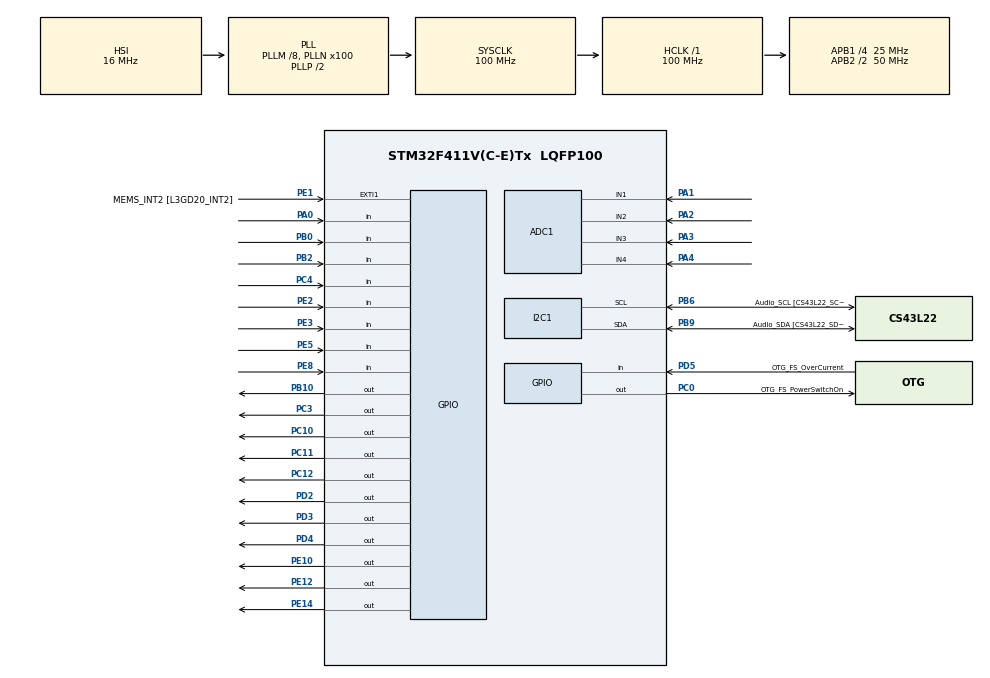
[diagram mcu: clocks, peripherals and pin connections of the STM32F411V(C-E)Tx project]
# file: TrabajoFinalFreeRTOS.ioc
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ADC1.Channel-1\#ChannelRegularConversion=ADC_CHANNEL_3
ADC1.NbrOfConversionFlag=1
ADC1.Rank-1\#ChannelRegularConversion=1
ADC1.SamplingTime-1\#ChannelRegularConversion=ADC_SAMPLETIME_3CYCLES
ADC1.master=1
FREERTOS.INCLUDE_vTaskDelayUntil=1
FREERTOS.Queues01=Queue1Handle,3,LCD_DataTypeDef,0,Dynamic,NULL,NULL;Queue3Handle,3,int,0,Dynamic,NULL,NULL;Queue4Handle,3,Output_DataTypeDef,0,Dynamic,NULL,NULL;Queue5Handle,3,uint32_t,0,Dynamic,NULL,NULL
FREERTOS.Tasks01=AutomaticTask,2,128,AutomaticControlTask,Default,NULL,Dynamic,NULL,NULL;InterfaceTask,0,128,UserInterfaceTask,Default,NULL,Dynamic,NULL,NULL;TheSensorsTask,-1,128,SensorsTask,Default,NULL,Dynamic,NULL,NULL;TheKeypadTask,-2,128,KeypadTask,Default,NULL,Dynamic,NULL,NULL
FREERTOS.configENABLE_FPU=0
Mcu.Family=STM32F4
Mcu.Name=STM32F411V(C-E)Tx
Mcu.Package=LQFP100
NVIC.PriorityGroup=NVIC_PRIORITYGROUP_4
NVIC.TIM5_IRQn=true\:0\:0\:false\:false\:true\:false\:false\:true\:true
NVIC.TimeBase=TIM5_IRQn
NVIC.TimeBaseIP=TIM5
PA0-WKUP.Signal=GPIO_Input
PA1.Signal=SharedAnalog_PA1
PA10.GPIO_Label=OTG_FS_ID
PA10.Signal=USB_OTG_FS_ID
PA11.GPIO_Label=OTG_FS_DM
PA11.Signal=USB_OTG_FS_DM
PA12.GPIO_Label=OTG_FS_DP
PA12.Signal=USB_OTG_FS_DP
PA13.Signal=SYS_JTMS-SWDIO
PA14.GPIO_Label=SWCLK
PA14.Signal=SYS_JTCK-SWCLK
PA2.Signal=ADCx_IN2
PA3.Signal=ADCx_IN3
PA4.Signal=ADCx_IN4
PA5.GPIO_Label=SPI1_SCK [L3GD20_SC/SPC]
PA5.Signal=SPI1_SCK
PA6.GPIO_Label=SPI1_MISO [L3GD20_AS0/SDO]
PA6.Signal=SPI1_MISO
PA7.GPIO_Label=SPI1_MOSI [L3GD20_SDA/SDI/SDO]
PA7.Signal=SPI1_MOSI
PA9.GPIO_Label=VBUS_FS
PA9.Signal=USB_OTG_FS_VBUS
PB0.GPIO_PuPd=GPIO_PULLUP
PB0.Signal=GPIO_Input
PB10.Signal=GPIO_Output
PB12.Signal=I2S2_WS
PB2.GPIO_PuPd=GPIO_PULLUP
PB2.Signal=GPIO_Input
PB3.GPIO_Label=SWO
PB3.Signal=SYS_JTDO-SWO
PB6.GPIO_Label=Audio_SCL [CS43L22_SCL]
PB6.GPIO_Mode=GPIO_MODE_AF_OD
PB6.GPIO_Pu=GPIO_PULLUP
PB6.GPIO_PuPd=GPIO_NOPULL
PB6.GPIO_Speed=GPIO_SPEED_FREQ_LOW
PB6.Mode=I2C
PB6.Signal=I2C1_SCL
PB9.GPIO_Label=Audio_SDA [CS43L22_SDA]
PB9.GPIO_Mode=GPIO_MODE_AF_OD
PB9.GPIO_Pu=GPIO_PULLUP
PB9.GPIO_PuPd=GPIO_NOPULL
PB9.GPIO_Speed=GPIO_SPEED_FREQ_LOW
PB9.Mode=I2C
PB9.Signal=I2C1_SDA
PC0.GPIO_Label=OTG_FS_PowerSwitchOn
PC0.PinState=GPIO_PIN_SET
PC0.Signal=GPIO_Output
PC10.Signal=GPIO_Output
PC11.Signal=GPIO_Output
PC12.Signal=GPIO_Output
PC14-OSC32_IN.GPIO_Label=PC14-OSC32_IN
PC14-OSC32_IN.Signal=RCC_OSC32_IN
PC15-OSC32_OUT.GPIO_Label=PC15-OSC32_OUT
PC15-OSC32_OUT.Signal=RCC_OSC32_OUT
PC3.Signal=GPIO_Output
PC4.GPIO_PuPd=GPIO_PULLUP
PC4.Signal=GPIO_Input
PC7.GPIO_Label=I2S3_MCK [CS43L22_MCLK]
PC7.GPIO_Mode=GPIO_MODE_AF_PP
PC7.GPIO_PuPd=GPIO_NOPULL
PC7.GPIO_Speed=GPIO_SPEED_FREQ_LOW
PC7.Signal=I2S3_MCK
PD2.Signal=GPIO_Output
PD3.Signal=GPIO_Output
PD4.Signal=GPIO_Output
PD5.GPIO_Label=OTG_FS_OverCurrent
PD5.Signal=GPIO_Input
PE1.GPIO_Label=MEMS_INT2 [L3GD20_INT2]
PE1.GPIO_ModeDefaultEXTI=GPIO_MODE_EVT_RISING
PE1.Signal=GPXTI1
PE10.Signal=GPIO_Output
PE12.Signal=GPIO_Output
PE14.Signal=GPIO_Output
PE2.Signal=GPIO_Input
PE3.Signal=GPIO_Input
PE5.Signal=GPIO_Input
PE8.Signal=GPIO_Input
PH0\ -\ OSC_IN.Signal=RCC_OSC_IN
PH1\ -\ OSC_OUT.Signal=RCC_OSC_OUT
ProjectManager.HeapSize=0x200
ProjectManager.StackSize=0x400
ProjectManager.TargetToolchain=STM32CubeIDE
RCC.48MHZClocksFreq_Value=25000000
RCC.AHBFreq_Value=100000000
RCC.APB1CLKDivider=RCC_HCLK_DIV4
RCC.APB1Freq_Value=25000000
RCC.APB1TimFreq_Value=50000000
RCC.APB2CLKDivider=RCC_HCLK_DIV2
RCC.APB2Freq_Value=50000000
RCC.APB2TimFreq_Value=100000000
RCC.CortexFreq_Value=100000000
RCC.HCLKFreq_Value=100000000
RCC.HSE_VALUE=8000000
RCC.HSI_VALUE=16000000
RCC.LSE_VALUE=32768
RCC.PLLI2SM=5
RCC.PLLI2SN=200
RCC.PLLM=8
RCC.PLLN=100
RCC.PLLQ=8
RCC.SYSCLKFreq_VALUE=100000000
RCC.SYSCLKSource=RCC_SYSCLKSOURCE_PLLCLK
RCC.VCOOutputFreq_Value=200000000
SH.ADCx_IN2.0=ADC1_IN2,IN2
SH.ADCx_IN3.0=ADC1_IN3,IN3
SH.ADCx_IN4.0=ADC1_IN4,IN4
SH.SharedAnalog_PA1.0=GPIO_Analog
SH.SharedAnalog_PA1.1=ADC1_IN1,IN1
VP_FREERTOS_VS_CMSIS_V1.Mode=CMSIS_V1
VP_SYS_VS_tim5.Mode=TIM5
VP_TIM2_VS_ClockSourceINT.Mode=Internal
VP_TIM3_VS_ClockSourceINT.Mode=Internal
board=STM32F411E-DISCO

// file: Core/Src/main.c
#include "main.h"
#include "bsp.h"
#include "cmsis_os.h"
#include "queue.h"
#include "lcd_i2cModule.h"
#include "DHT.h"
#include "keypad.h"
#include <stdio.h>
#include <FreeRTOS.h>

ADC_HandleTypeDef hadc1;
I2C_HandleTypeDef hi2c1;
TIM_HandleTypeDef htim2;
TIM_HandleTypeDef htim3;

osThreadId AutomaticTaskHandle;
osThreadId InterfaceTaskHandle;
osThreadId TheSensorsTaskHandle;
osThreadId TheKeypadTaskHandle;

osMessageQId Queue0Handle;
osMessageQId Queue1Handle;
osMessageQId Queue2Handle;
osMessageQId Queue3Handle;
osMessageQId Queue4Handle;
osMessageQId Queue5Handle;
osMessageQId Queue6Handle;
osMessageQId Queue7Handle;

QueueSetHandle_t QueueSetHandle;

void SystemClock_Config(void);
static void MX_GPIO_Init(void);
static void MX_ADC1_Init(void);
static void MX_I2C1_Init(void);
static void MX_TIM2_Init(void);
static void MX_TIM3_Init(void);

void AutomaticControlTask(void const * argument);
void StateMachineTask(void const * argument);
void SensorsTask(void const * argument);
void KeypadTask(void const * argument);

int main(void)
{

  BSP_Init();
 // APP_Show_SystemIntro();

  SystemClock_Config();

  MX_GPIO_Init();
  MX_ADC1_Init();
  MX_I2C1_Init();
  MX_TIM2_Init();
  MX_TIM3_Init();

  osMessageQDef(Queue0Handle, 3, uint32_t);
  Queue0Handle = osMessageCreate(osMessageQ(Queue0Handle), NULL);

  osMessageQDef(Queue1Handle, 3, uint32_t);
  Queue1Handle = osMessageCreate(osMessageQ(Queue1Handle), NULL);

  osMessageQDef(Queue2Handle, 3, uint32_t);
  Queue2Handle = osMessageCreate(osMessageQ(Queue2Handle), NULL);

  osMessageQDef(Queue3Handle, 3, int);
  Queue3Handle = osMessageCreate(osMessageQ(Queue3Handle), NULL);

  osMessageQDef(Queue4Handle, 3, uint32_t);
  Queue4Handle = osMessageCreate(osMessageQ(Queue4Handle), NULL);

  osMessageQDef(Queue5Handle, 3, uint32_t);
  Queue5Handle = osMessageCreate(osMessageQ(Queue5Handle), NULL);

  osMessageQDef(Queue6Handle, 3, uint32_t);
  Queue6Handle = osMessageCreate(osMessageQ(Queue6Handle), NULL);

  osMessageQDef(Queue7Handle, 3, uint32_t);
  Queue7Handle = osMessageCreate(osMessageQ(Queue7Handle), NULL);

  QueueSetHandle = xQueueCreateSet(6); // revisar si no es mucho

  xQueueAddToSet(Queue1Handle, QueueSetHandle);
  xQueueAddToSet(Queue3Handle, QueueSetHandle);

//  	  xTaskCreate(AutomaticTask, AutomaticControlTask, 1024, NULL, 3, NULL);
//  	xTaskCreate(InterfaceTask, UserInterfaceTask, 1024, NULL, 2, NULL);
//  	xTaskCreate(TheSensorsTask, SensorsTask, 1024, NULL, 1, NULL);
//  	xTaskCreate(TheKeypadTask, KeypadTask, 1024, NULL, 0, NULL);

  osThreadDef(AutomaticTask, AutomaticControlTask, osPriorityHigh, 0, 1024);
  AutomaticTaskHandle = osThreadCreate(osThread(AutomaticTask), NULL);

  osThreadDef(InterfaceTask, StateMachineTask, osPriorityNormal, 0, 1024);
  InterfaceTaskHandle = osThreadCreate(osThread(InterfaceTask), NULL);

  osThreadDef(TheSensorsTask, SensorsTask, osPriorityBelowNormal, 0, 1024);
  TheSensorsTaskHandle = osThreadCreate(osThread(TheSensorsTask), NULL);

  osThreadDef(TheKeypadTask, KeypadTask, osPriorityLow, 0, 1024);
  TheKeypadTaskHandle = osThreadCreate(osThread(TheKeypadTask), NULL);

  osKernelStart();

  while (1)
  {

  }

}

void AutomaticControlTask(void const * argument)
{
  /* USER CODE BEGIN 5 */
	//Output_DataTypeDef Output_Data;
	uint32_t rangohmin;
	uint32_t rangohmax;
	uint32_t irrigationHumidity;
	uint32_t soilHumidity;
  /* Infinite loop */
  for(;;)
  {
		if(xQueueReceive(Queue4Handle, &soilHumidity, portMAX_DELAY) == pdTRUE){
			xQueueReceive(Queue6Handle, &rangohmin, portMAX_DELAY);
			xQueueReceive(Queue7Handle, &rangohmax, portMAX_DELAY);

					if (soilHumidity < rangohmax && soilHumidity > rangohmin){

						LCD_Clear();

						do {

			            	LCD_SetCursor(2, 5);
							LCD_Print("REGANDO", 1);
							BSP_TurnOn_Valve();
							xQueueReceive(Queue5Handle, &irrigationHumidity, 2000);

						}
						while (irrigationHumidity <= rangohmax && irrigationHumidity >= rangohmin);
						BSP_TurnOff_Valve();
						LCD_Clear();
					}
		}
  }
  /* USER CODE END 5 */
}

void StateMachineTask(void const * argument)
{
  /* USER CODE BEGIN UserInterfaceTask */
	int rx_key;
		//LCD_DataTypeDef LCD_Data;
		//Output_DataTypeDef Output_Data;
		uint32_t rangohmin = 0;
		uint32_t rangohmax = 30;
		uint32_t temperature = 0;
		uint32_t humidity = 0;
		uint32_t soilHumidity = 0;
		int estado_cortina;
		int cortina_manual;
  /* Infinite loop */
  for(;;)
  {
	  QueueSetMemberHandle_t who_unblocked = xQueueSelectFromSet(QueueSetHandle, 0); //si no es 0 es se rompe con Hard_Falut interrupt
	  		if(who_unblocked == Queue1Handle){
	  			if(xQueueReceive(Queue1Handle, &soilHumidity, 0)){
	  				xQueueReceive(Queue0Handle, &temperature, 0);
					xQueueReceive(Queue2Handle, &humidity, 0);

	  				LCD_Clear();
	  				BSP_LCD_Humidity(humidity);
	  				BSP_LCD_Temperature(temperature);
	  				BSP_LCD_SoilHumidity(soilHumidity);

	  			}
	  		}
	  		else if(who_unblocked == Queue3Handle){
	  			if(xQueueReceive(Queue3Handle, &rx_key, 0) == pdTRUE){
	  				switch (rx_key) {
	  				            case 65:
	  				                LCD_Clear();
	  				                LCD_SetCursor(1, 5);
	  				                LCD_Print("MINIMO:", 1);
	  				                HAL_Delay(2000);

	  				                who_unblocked = xQueueSelectFromSet(QueueSetHandle, portMAX_DELAY);
	  				                if(who_unblocked == Queue3Handle){

	  				                	if(xQueueReceive(Queue3Handle, &rx_key, 0) == pdTRUE) {
	  				                		switch (rx_key) {
	  				                			case 49: rangohmin = 10; break;
	  				                			case 50: rangohmin = 20; break;
	  				                			case 51: rangohmin = 30; break;
	  				                			case 52: rangohmin = 40; break;
	  				                			case 53: rangohmin = 50; break;
	  				                			case 54: rangohmin = 60; break;
	  				                			case 55: rangohmin = 70; break;
	  				                			case 56: rangohmin = 80; break;
	  				                			case 57: rangohmin = 90; break;
	  				                			case 48: rangohmin =  0; break;
	  				                			default: rangohmin = 100;                                   //FALTA CASO 100
	  				                		}
	  				                	}                                                                   //revisar corchete
	  				                }
	  				                LCD_SetCursor(1, 5);
	  				                LCD_Print("MINIMO:%1u", rangohmin);
	  				                LCD_SetCursor(2, 5);
	  				                LCD_Print("MAXIMO:", 1);

	  				                who_unblocked = xQueueSelectFromSet(QueueSetHandle, portMAX_DELAY);
	  				                if(who_unblocked == Queue3Handle){

	  				                	if(xQueueReceive(Queue3Handle, &rx_key, 0) == pdTRUE) {
	  				                		switch (rx_key) {
	  				                			case 49: rangohmax = 10; break;
	  				                			case 50: rangohmax = 20; break;
	  				                			case 51: rangohmax = 30; break;
	  				                			case 52: rangohmax = 40; break;
	  				                			case 53: rangohmax = 50; break;
	  				                			case 54: rangohmax = 60; break;
	  				                			case 55: rangohmax = 70; break;
	  				                			case 56: rangohmax = 80; break;
	  				                			case 57: rangohmax = 90; break;
	  				                			case 48: rangohmax =  0; break;
	  				                			default: rangohmax = 100;
	  				                		}                                                                 //FALTA CASO ERROR QUE SEA MENOR AL MÍNIMO
	  				                	}
	  				                }
	  				                LCD_SetCursor(2, 5);
	  				                LCD_Print("MAXIMO:%1u", rangohmax);
	  				                HAL_Delay(4000);
	  				                LCD_Clear();

	  				                BSP_LCD_Humidity(humidity);
	  				               	BSP_LCD_Temperature(temperature);
	  				                BSP_LCD_SoilHumidity(soilHumidity);

	  				                break;
	  				            case 49:
	  				            	LCD_Clear();
	  				                LCD_SetCursor(2, 1);
	  				                LCD_Print("Ingreso 1", 1);
	  				                HAL_Delay(2000);
	  				                LCD_Clear();

	  				                BSP_LCD_Humidity(humidity);
	  				               	BSP_LCD_Temperature(temperature);
	  				                BSP_LCD_SoilHumidity(soilHumidity);
	  				                break;
	  				            case 50:
	  				            	LCD_Clear();
	  				                LCD_SetCursor(2, 1);
	  				                LCD_Print("Ingreso 2", 1);
	  				                HAL_Delay(2000);
	  				                LCD_Clear();

	  				                BSP_LCD_Humidity(humidity);
	  				                BSP_LCD_Temperature(temperature);
	  				                BSP_LCD_SoilHumidity(soilHumidity);
	  				                break;
	  				            case 51:
	  				            	LCD_Clear();
	  				                LCD_SetCursor(2, 1);
	  				                LCD_Print("Ingreso 3", 1);
	  				                HAL_Delay(2000);
	  				                LCD_Clear();

	  				                BSP_LCD_Humidity(humidity);
	  				                BSP_LCD_Temperature(temperature);
	  				                BSP_LCD_SoilHumidity(soilHumidity);
	  				                break;
	  				            case 52:
	  				            	LCD_Clear();
	  				                LCD_SetCursor(2, 1);
	  				                LCD_Print("Ingreso 4", 1);
	  				                HAL_Delay(2000);
	  				                LCD_Clear();

	  				                BSP_LCD_Humidity(humidity);
	  				                BSP_LCD_Temperature(temperature);
	  				                BSP_LCD_SoilHumidity(soilHumidity);
	  				                break;
	  				            case 53:
	  				            	LCD_Clear();
	  				                LCD_SetCursor(2, 1);
	  				                LCD_Print("Ingreso 5", 1);
	  				                HAL_Delay(2000);
	  				                LCD_Clear();

	  				                BSP_LCD_Humidity(humidity);
	  				                BSP_LCD_Temperature(temperature);
	  				                BSP_LCD_SoilHumidity(soilHumidity);
	  				                break;
	  				            case 54:
	  				            	LCD_Clear();
	  				                LCD_SetCursor(2, 1);
	  				                LCD_Print("Ingreso 6", 1);
	  				                HAL_Delay(2000);
	  				                LCD_Clear();

	  				                BSP_LCD_Humidity(humidity);
	  				                BSP_LCD_Temperature(temperature);
	  				                BSP_LCD_SoilHumidity(soilHumidity);
	  				                break;
	  				            case 66:                                //TECLA 'B'
	  				//                LCD_SetCursor(1, 1);
	  				//                LCD_Send_String("Ingrese 1 por AM/2 por PM", STR_NOSLIDE);
	  				//                do {
	  				//                    tecla = keypad_read();
	  				//                    switch (tecla) {
	  				//                        case 0:             break;   //buen metodo?
	  				//                        case 49: AMoPM = 1; break;
	  				//                        case 50: AMoPM = 2; break;
	  				//                        default:
	  				//                            LCD_Clear();
	  				//                            LCD_SetCursor(1, 1);
	  				//                           HAL_Delay(3000);
	  				//                            LCD_Clear();
	  				//                            LCD_SetCursor(1, 1);
	  				//                            LCD_Send_String("Ingrese 1 por AM/2 por PM", STR_NOSLIDE);
	  				//                    }
	  				//                } while (AMoPM != 1 && AMoPM != 2);
	  				//                if (AMoPM == 1){
	  				//                    LCD_SetCursor(1, 1);
	  				//                    LCD_Send_String("Ingrese hora de riego", STR_NOSLIDE);
	  				//                    do {
	  				//                        tecla = keypad_read();
	  				//                        switch (tecla) {
	  				//                            case 49:
	  				//                                                                  //PROBLEMA
	  				//                                hora_de_riego = 1;
	  				//                                break;
	  				//                            case 50: hora_de_riego = 2; break;
	  				//                            case 51: hora_de_riego = 3; break;
	  				//                            case 52: hora_de_riego = 4; break;
	  				//                            case 53: hora_de_riego = 5; break;
	  				//                            case 54: hora_de_riego = 6; break;
	  				//                            case 55: hora_de_riego = 7; break;
	  				//                            case 56: hora_de_riego = 8; break;
	  				//                            case 57: hora_de_riego = 9; break;
	  				                //case 48: hora_de_riego =  0; break;
	  				//                        }
	  				//                    } while (tecla == 0);
	  				//                }
	  				//                if (AMoPM == 2){

	  				//                }
	  				                break;
	  				            case 55:
	  				            	LCD_Clear();
	  				                LCD_SetCursor(2, 1);
	  				                LCD_Print("Ingreso 7", 1);
	  				                HAL_Delay(2000);

	  				                LCD_Clear();

	  				                BSP_LCD_Humidity(humidity);
	  				                BSP_LCD_Temperature(temperature);
	  				                BSP_LCD_SoilHumidity(soilHumidity);
	  				                break;
	  				            case 56:
	  				            	LCD_Clear();
	  				                LCD_SetCursor(2, 1);
	  				                LCD_Print("Ingreso 8", 1);
	  				                HAL_Delay(2000);
	  				                LCD_Clear();

	  				                BSP_LCD_Humidity(humidity);
	  				                BSP_LCD_Temperature(temperature);
	  				                BSP_LCD_SoilHumidity(soilHumidity);
	  				                break;
	  				            case 57:
	  				            	LCD_Clear();
	  				                LCD_SetCursor(2, 1);
	  				                LCD_Print("Ingreso 9", 1);
	  				                HAL_Delay(2000);
	  				                LCD_Clear();

	  				                BSP_LCD_Humidity(humidity);
	  				                BSP_LCD_Temperature(temperature);
	  				                BSP_LCD_SoilHumidity(soilHumidity);
	  				                break;
	  				            case 67:                                             //TECLA 'C'
	  				            	LCD_Clear();
	  				                LCD_SetCursor(2, 5);
	  				                LCD_Print("PESTICIDA", 1);
	  				              //  htim2.Instance->CCR1 = 75; //ANGULO 90 GRADOS
	  				                HAL_Delay(4000);
	  				                LCD_Clear();

	  				                BSP_LCD_Humidity(humidity);
	  				                BSP_LCD_Temperature(temperature);
	  				                BSP_LCD_SoilHumidity(soilHumidity);
	  				                break;
	  				            case 68:                                             //TECLA 'D'
	  				                if(estado_cortina == 0) {     										  //flag para ver si la cortina esta abierta o cerrada
	  				                    LCD_Clear();
	  				                	LCD_SetCursor(2, 1);
	  				                    LCD_Print("CERRANDO CORTINA", 1);
	  				                    HAL_GPIO_WritePin(GPIOD, GPIO_PIN_4, GPIO_PIN_SET); 				//  ENA
	  				                    HAL_GPIO_WritePin(GPIOD, GPIO_PIN_3, GPIO_PIN_SET); 				//  IN1
	  				                    HAL_GPIO_WritePin(GPIOD, GPIO_PIN_2, GPIO_PIN_RESET);				 //  IN2
	  				                    while (!HAL_GPIO_ReadPin(GPIOE, GPIO_PIN_5));   						//espera hasta que la cortina toque fin de carrera con pull up
	  				                    HAL_GPIO_WritePin(GPIOD, GPIO_PIN_4, GPIO_PIN_RESET); 				//  ENA
	  				                    estado_cortina = 1;                                                  //cambio de estado
	  				                    if (cortina_manual == 0)  										 //revisar
	  				                        cortina_manual = 1;       									 //bandera para saber si se quiere de manera manual la cortina abierta
	  				                    else
	  				                        cortina_manual = 0;
	  				                }
	  				                else {
	  				                	LCD_Clear();
	  				                    LCD_SetCursor(2, 1);
	  				                    LCD_Print("ABRIENDO CORTINA", 1);
	  				                    HAL_GPIO_WritePin(GPIOD, GPIO_PIN_4, GPIO_PIN_SET); 			//  ENA
	  				                    HAL_GPIO_WritePin(GPIOD, GPIO_PIN_3, GPIO_PIN_RESET); 				//  IN1
	  				                    HAL_GPIO_WritePin(GPIOD, GPIO_PIN_2, GPIO_PIN_SET); 			//  IN2
	  				                    while (!HAL_GPIO_ReadPin(GPIOE, GPIO_PIN_3));  						 //espera hasta que la cortina toque fin de carrera con pull up
	  				                    HAL_GPIO_WritePin(GPIOD, GPIO_PIN_4, GPIO_PIN_RESET); 			//  ENA
	  				                    estado_cortina = 0;                                           //cambio de estado
	  				                    if (cortina_manual == 0)   										//revisar
	  				                        cortina_manual = 1;
	  				                    else
	  				                        cortina_manual = 0;   										 //bandera para saber si se quiere de manera manual la cortina abierta
	  				                }
	  				                break;
	  				            case 48:
	  				            	LCD_Clear();
	  				                LCD_SetCursor(2, 1);
	  				                LCD_Print("Ingreso 0", 1);
	  				                HAL_Delay(2000);
	  				                LCD_Clear();

	  				                BSP_LCD_Humidity(humidity);
	  				                BSP_LCD_Temperature(temperature);
	  				                BSP_LCD_SoilHumidity(soilHumidity);
	  				                break;
	  				        }
	  			}
	  		}
	  		soilHumidity = 3;
	  		//soilHumidity = LCD_Data.soilHumidity;

	  		xQueueSend(Queue4Handle, &soilHumidity, 3000); // revisar como incide el 3000 en el comportamiento
	  		xQueueSend(Queue6Handle, &rangohmin, 3000);
	  		xQueueSend(Queue7Handle, &rangohmax, 3000);

	  		osDelay(5000);
	  	}

  /* USER CODE END UserInterfaceTask */
}

void SensorsTask(void const * argument)
{
  /* USER CODE BEGIN SensorsTask */
	DHT_DataTypeDef DHT22;
	uint32_t temperature = 0;
	uint32_t humidity = 0;
	uint32_t soilHumidity;
  /* Infinite loop */
  for(;;)
  {
		DHT_GetData(&DHT22);
		humidity = DHT22.Humidity;
		temperature = DHT22.Temperature;
		soilHumidity = APP_SoilHumidity();

		xQueueSend(Queue1Handle, &soilHumidity, 0);
		xQueueSend(Queue0Handle, &temperature, 0);
		xQueueSend(Queue2Handle, &humidity, 0);

		xQueueSend(Queue5Handle, &soilHumidity, 0);

		osDelay(500);                                                         //Bajar para testear
  }
  /* USER CODE END SensorsTask */
}

void KeypadTask(void const * argument)
{
  /* USER CODE BEGIN KeypadTask */
	int key;
  /* Infinite loop */
  for(;;)
  {
	  key = keypad_read();

	  	if(key != 0){

	  		xQueueSend(Queue3Handle, &key, 5000);  // sacar pormax_delay que es puro bloqueante
	  	}
	      osDelay(10);
  }
  /* USER CODE END KeypadTask */
}

void APP_Show_SystemIntro(){
    LCD_i2cDeviceCheck();
    LCD_BackLight(LCD_BL_ON);
    LCD_SetCursor(1,1);
    LCD_Clear();
    LCD_Print("Cargando Datos",1);
    //BSP_Delay(2000);
    //LCD_Clear();
}

void APP_CoverFromTemperature(int estado_cortina, int cortina_manual){
    BSP_CoverFromTemperature(estado_cortina, cortina_manual);
}

uint32_t APP_SoilHumidity(){
	int SoilHumidity;
	SoilHumidity = BSP_SoilHumidity();
	return SoilHumidity;
}

void APP_Irrigation(int rangohmin, int rangohmax){
    BSP_Irrigation(rangohmin, rangohmax);
}

void SystemClock_Config(void)
{
  RCC_OscInitTypeDef RCC_OscInitStruct = {0};
  RCC_ClkInitTypeDef RCC_ClkInitStruct = {0};

  /** Configure the main internal regulator output voltage
  */
  __HAL_RCC_PWR_CLK_ENABLE();
  __HAL_PWR_VOLTAGESCALING_CONFIG(PWR_REGULATOR_VOLTAGE_SCALE1);
  /** Initializes the RCC Oscillators according to the specified parameters
  * in the RCC_OscInitTypeDef structure.
  */
  RCC_OscInitStruct.OscillatorType = RCC_OSCILLATORTYPE_HSI;
  RCC_OscInitStruct.HSIState = RCC_HSI_ON;
  RCC_OscInitStruct.HSICalibrationValue = RCC_HSICALIBRATION_DEFAULT;
  RCC_OscInitStruct.PLL.PLLState = RCC_PLL_ON;
  RCC_OscInitStruct.PLL.PLLSource = RCC_PLLSOURCE_HSI;
  RCC_OscInitStruct.PLL.PLLM = 8;
  RCC_OscInitStruct.PLL.PLLN = 100;
  RCC_OscInitStruct.PLL.PLLP = RCC_PLLP_DIV2;
  RCC_OscInitStruct.PLL.PLLQ = 8;
  if (HAL_RCC_OscConfig(&RCC_OscInitStruct) != HAL_OK)
  {
    Error_Handler();
  }
  /** Initializes the CPU, AHB and APB buses clocks
  */
  RCC_ClkInitStruct.ClockType = RCC_CLOCKTYPE_HCLK|RCC_CLOCKTYPE_SYSCLK
                              |RCC_CLOCKTYPE_PCLK1|RCC_CLOCKTYPE_PCLK2;
  RCC_ClkInitStruct.SYSCLKSource = RCC_SYSCLKSOURCE_PLLCLK;
  RCC_ClkInitStruct.AHBCLKDivider = RCC_SYSCLK_DIV1;
  RCC_ClkInitStruct.APB1CLKDivider = RCC_HCLK_DIV4;
  RCC_ClkInitStruct.APB2CLKDivider = RCC_HCLK_DIV2;

  if (HAL_RCC_ClockConfig(&RCC_ClkInitStruct, FLASH_LATENCY_3) != HAL_OK)
  {
    Error_Handler();
  }
}

static void MX_ADC1_Init(void)
{

  ADC_ChannelConfTypeDef sConfig = {0};

  /** Configure the global features of the ADC (Clock, Resolution, Data Alignment and number of conversion)
  */
  hadc1.Instance = ADC1;
  hadc1.Init.ClockPrescaler = ADC_CLOCK_SYNC_PCLK_DIV2;
  hadc1.Init.Resolution = ADC_RESOLUTION_12B;
  hadc1.Init.ScanConvMode = DISABLE;
  hadc1.Init.ContinuousConvMode = DISABLE;
  hadc1.Init.DiscontinuousConvMode = DISABLE;
  hadc1.Init.ExternalTrigConvEdge = ADC_EXTERNALTRIGCONVEDGE_NONE;
  hadc1.Init.ExternalTrigConv = ADC_SOFTWARE_START;
  hadc1.Init.DataAlign = ADC_DATAALIGN_RIGHT;
  hadc1.Init.NbrOfConversion = 1;
  hadc1.Init.DMAContinuousRequests = DISABLE;
  hadc1.Init.EOCSelection = ADC_EOC_SINGLE_CONV;
  if (HAL_ADC_Init(&hadc1) != HAL_OK)
  {
    Error_Handler();
  }
  /** Configure for the selected ADC regular channel its corresponding rank in the sequencer and its sample time.
  */
  sConfig.Channel = ADC_CHANNEL_3;
  sConfig.Rank = 1;
  sConfig.SamplingTime = ADC_SAMPLETIME_3CYCLES;
  if (HAL_ADC_ConfigChannel(&hadc1, &sConfig) != HAL_OK)
  {
    Error_Handler();
  }

}

static void MX_I2C1_Init(void)
{

  hi2c1.Instance = I2C1;
  hi2c1.Init.ClockSpeed = 100000;
  hi2c1.Init.DutyCycle = I2C_DUTYCYCLE_2;
  hi2c1.Init.OwnAddress1 = 0;
  hi2c1.Init.AddressingMode = I2C_ADDRESSINGMODE_7BIT;
  hi2c1.Init.DualAddressMode = I2C_DUALADDRESS_DISABLE;
  hi2c1.Init.OwnAddress2 = 0;
  hi2c1.Init.GeneralCallMode = I2C_GENERALCALL_DISABLE;
  hi2c1.Init.NoStretchMode = I2C_NOSTRETCH_DISABLE;
  if (HAL_I2C_Init(&hi2c1) != HAL_OK)
  {
    Error_Handler();
  }

}

static void MX_TIM2_Init(void)
{

  TIM_ClockConfigTypeDef sClockSourceConfig = {0};
  TIM_MasterConfigTypeDef sMasterConfig = {0};

  htim2.Instance = TIM2;
  htim2.Init.Prescaler = 0;
  htim2.Init.CounterMode = TIM_COUNTERMODE_UP;
  htim2.Init.Period = 4294967295;
  htim2.Init.ClockDivision = TIM_CLOCKDIVISION_DIV1;
  htim2.Init.AutoReloadPreload = TIM_AUTORELOAD_PRELOAD_DISABLE;
  if (HAL_TIM_Base_Init(&htim2) != HAL_OK)
  {
    Error_Handler();
  }
  sClockSourceConfig.ClockSource = TIM_CLOCKSOURCE_INTERNAL;
  if (HAL_TIM_ConfigClockSource(&htim2, &sClockSourceConfig) != HAL_OK)
  {
    Error_Handler();
  }
  sMasterConfig.MasterOutputTrigger = TIM_TRGO_RESET;
  sMasterConfig.MasterSlaveMode = TIM_MASTERSLAVEMODE_DISABLE;
  if (HAL_TIMEx_MasterConfigSynchronization(&htim2, &sMasterConfig) != HAL_OK)
  {
    Error_Handler();
  }

}

static void MX_TIM3_Init(void)
{

  TIM_ClockConfigTypeDef sClockSourceConfig = {0};
  TIM_MasterConfigTypeDef sMasterConfig = {0};

  htim3.Instance = TIM3;
  htim3.Init.Prescaler = 0;
  htim3.Init.CounterMode = TIM_COUNTERMODE_UP;
  htim3.Init.Period = 65535;
  htim3.Init.ClockDivision = TIM_CLOCKDIVISION_DIV1;
  htim3.Init.AutoReloadPreload = TIM_AUTORELOAD_PRELOAD_DISABLE;
  if (HAL_TIM_Base_Init(&htim3) != HAL_OK)
  {
    Error_Handler();
  }
  sClockSourceConfig.ClockSource = TIM_CLOCKSOURCE_INTERNAL;
  if (HAL_TIM_ConfigClockSource(&htim3, &sClockSourceConfig) != HAL_OK)
  {
    Error_Handler();
  }
  sMasterConfig.MasterOutputTrigger = TIM_TRGO_RESET;
  sMasterConfig.MasterSlaveMode = TIM_MASTERSLAVEMODE_DISABLE;
  if (HAL_TIMEx_MasterConfigSynchronization(&htim3, &sMasterConfig) != HAL_OK)
  {
    Error_Handler();
  }

}

static void MX_GPIO_Init(void)
{
  GPIO_InitTypeDef GPIO_InitStruct = {0};

  /* GPIO Ports Clock Enable */
  __HAL_RCC_GPIOE_CLK_ENABLE();
  __HAL_RCC_GPIOC_CLK_ENABLE();
  __HAL_RCC_GPIOH_CLK_ENABLE();
  __HAL_RCC_GPIOA_CLK_ENABLE();
  __HAL_RCC_GPIOB_CLK_ENABLE();
  __HAL_RCC_GPIOD_CLK_ENABLE();

  /*Configure GPIO pin Output Level */
  HAL_GPIO_WritePin(OTG_FS_PowerSwitchOn_GPIO_Port, OTG_FS_PowerSwitchOn_Pin, GPIO_PIN_SET);

  /*Configure GPIO pin Output Level */
  HAL_GPIO_WritePin(GPIOC, GPIO_PIN_3|GPIO_PIN_10|GPIO_PIN_11|GPIO_PIN_12, GPIO_PIN_RESET);

  /*Configure GPIO pin Output Level */
  HAL_GPIO_WritePin(GPIOE, GPIO_PIN_10|GPIO_PIN_12|GPIO_PIN_14, GPIO_PIN_RESET);

  /*Configure GPIO pin Output Level */
  HAL_GPIO_WritePin(GPIOB, GPIO_PIN_10, GPIO_PIN_RESET);

  /*Configure GPIO pin Output Level */
  HAL_GPIO_WritePin(GPIOD, GPIO_PIN_2|GPIO_PIN_3|GPIO_PIN_4, GPIO_PIN_RESET);

  /*Configure GPIO pins : PE2 PE3 PE5 */
  GPIO_InitStruct.Pin = GPIO_PIN_2|GPIO_PIN_3|GPIO_PIN_5;
  GPIO_InitStruct.Mode = GPIO_MODE_INPUT;
  GPIO_InitStruct.Pull = GPIO_NOPULL;
  HAL_GPIO_Init(GPIOE, &GPIO_InitStruct);

  /*Configure GPIO pins : OTG_FS_PowerSwitchOn_Pin PC3 PC10 PC11
                           PC12 */
  GPIO_InitStruct.Pin = OTG_FS_PowerSwitchOn_Pin|GPIO_PIN_3|GPIO_PIN_10|GPIO_PIN_11
                          |GPIO_PIN_12;
  GPIO_InitStruct.Mode = GPIO_MODE_OUTPUT_PP;
  GPIO_InitStruct.Pull = GPIO_NOPULL;
  GPIO_InitStruct.Speed = GPIO_SPEED_FREQ_LOW;
  HAL_GPIO_Init(GPIOC, &GPIO_InitStruct);

  /*Configure GPIO pin : PA0 */
  GPIO_InitStruct.Pin = GPIO_PIN_0;
  GPIO_InitStruct.Mode = GPIO_MODE_INPUT;
  GPIO_InitStruct.Pull = GPIO_NOPULL;
  HAL_GPIO_Init(GPIOA, &GPIO_InitStruct);

  /*Configure GPIO pins : SPI1_SCK_Pin SPI1_MISO_Pin SPI1_MOSI_Pin */
  GPIO_InitStruct.Pin = SPI1_SCK_Pin|SPI1_MISO_Pin|SPI1_MOSI_Pin;
  GPIO_InitStruct.Mode = GPIO_MODE_AF_PP;
  GPIO_InitStruct.Pull = GPIO_NOPULL;
  GPIO_InitStruct.Speed = GPIO_SPEED_FREQ_VERY_HIGH;
  GPIO_InitStruct.Alternate = GPIO_AF5_SPI1;
  HAL_GPIO_Init(GPIOA, &GPIO_InitStruct);

  /*Configure GPIO pin : PC4 */
  GPIO_InitStruct.Pin = GPIO_PIN_4;
  GPIO_InitStruct.Mode = GPIO_MODE_INPUT;
  GPIO_InitStruct.Pull = GPIO_PULLUP;
  HAL_GPIO_Init(GPIOC, &GPIO_InitStruct);

  /*Configure GPIO pins : PB0 PB2 */
  GPIO_InitStruct.Pin = GPIO_PIN_0|GPIO_PIN_2;
  GPIO_InitStruct.Mode = GPIO_MODE_INPUT;
  GPIO_InitStruct.Pull = GPIO_PULLUP;
  HAL_GPIO_Init(GPIOB, &GPIO_InitStruct);

  /*Configure GPIO pin : PE8 */
  GPIO_InitStruct.Pin = GPIO_PIN_8;
  GPIO_InitStruct.Mode = GPIO_MODE_INPUT;
  GPIO_InitStruct.Pull = GPIO_PULLUP;
  HAL_GPIO_Init(GPIOE, &GPIO_InitStruct);

  /*Configure GPIO pins : PE10 PE12 PE14 */
  GPIO_InitStruct.Pin = GPIO_PIN_10|GPIO_PIN_12|GPIO_PIN_14;
  GPIO_InitStruct.Mode = GPIO_MODE_OUTPUT_PP;
  GPIO_InitStruct.Pull = GPIO_NOPULL;
  GPIO_InitStruct.Speed = GPIO_SPEED_FREQ_LOW;
  HAL_GPIO_Init(GPIOE, &GPIO_InitStruct);

  /*Configure GPIO pin : PB10 */
  GPIO_InitStruct.Pin = GPIO_PIN_10;
  GPIO_InitStruct.Mode = GPIO_MODE_OUTPUT_PP;
  GPIO_InitStruct.Pull = GPIO_NOPULL;
  GPIO_InitStruct.Speed = GPIO_SPEED_FREQ_LOW;
  HAL_GPIO_Init(GPIOB, &GPIO_InitStruct);

  /*Configure GPIO pin : PB12 */
  GPIO_InitStruct.Pin = GPIO_PIN_12;
  GPIO_InitStruct.Mode = GPIO_MODE_AF_PP;
  GPIO_InitStruct.Pull = GPIO_NOPULL;
  GPIO_InitStruct.Speed = GPIO_SPEED_FREQ_LOW;
  GPIO_InitStruct.Alternate = GPIO_AF5_SPI2;
  HAL_GPIO_Init(GPIOB, &GPIO_InitStruct);

  /*Configure GPIO pin : I2S3_MCK_Pin */
  GPIO_InitStruct.Pin = I2S3_MCK_Pin;
  GPIO_InitStruct.Mode = GPIO_MODE_AF_PP;
  GPIO_InitStruct.Pull = GPIO_NOPULL;
  GPIO_InitStruct.Speed = GPIO_SPEED_FREQ_LOW;
  GPIO_InitStruct.Alternate = GPIO_AF6_SPI3;
  HAL_GPIO_Init(I2S3_MCK_GPIO_Port, &GPIO_InitStruct);

  /*Configure GPIO pin : VBUS_FS_Pin */
  GPIO_InitStruct.Pin = VBUS_FS_Pin;
  GPIO_InitStruct.Mode = GPIO_MODE_INPUT;
  GPIO_InitStruct.Pull = GPIO_NOPULL;
  HAL_GPIO_Init(VBUS_FS_GPIO_Port, &GPIO_InitStruct);

  /*Configure GPIO pins : OTG_FS_ID_Pin OTG_FS_DM_Pin OTG_FS_DP_Pin */
  GPIO_InitStruct.Pin = OTG_FS_ID_Pin|OTG_FS_DM_Pin|OTG_FS_DP_Pin;
  GPIO_InitStruct.Mode = GPIO_MODE_AF_PP;
  GPIO_InitStruct.Pull = GPIO_NOPULL;
  GPIO_InitStruct.Speed = GPIO_SPEED_FREQ_VERY_HIGH;
  GPIO_InitStruct.Alternate = GPIO_AF10_OTG_FS;
  HAL_GPIO_Init(GPIOA, &GPIO_InitStruct);

  /*Configure GPIO pins : PD2 PD3 PD4 */
  GPIO_InitStruct.Pin = GPIO_PIN_2|GPIO_PIN_3|GPIO_PIN_4;
  GPIO_InitStruct.Mode = GPIO_MODE_OUTPUT_PP;
  GPIO_InitStruct.Pull = GPIO_NOPULL;
  GPIO_InitStruct.Speed = GPIO_SPEED_FREQ_LOW;
  HAL_GPIO_Init(GPIOD, &GPIO_InitStruct);

  /*Configure GPIO pin : OTG_FS_OverCurrent_Pin */
  GPIO_InitStruct.Pin = OTG_FS_OverCurrent_Pin;
  GPIO_InitStruct.Mode = GPIO_MODE_INPUT;
  GPIO_InitStruct.Pull = GPIO_NOPULL;
  HAL_GPIO_Init(OTG_FS_OverCurrent_GPIO_Port, &GPIO_InitStruct);

  /*Configure GPIO pin : MEMS_INT2_Pin */
  GPIO_InitStruct.Pin = MEMS_INT2_Pin;
  GPIO_InitStruct.Mode = GPIO_MODE_EVT_RISING;
  GPIO_InitStruct.Pull = GPIO_NOPULL;
  HAL_GPIO_Init(MEMS_INT2_GPIO_Port, &GPIO_InitStruct);

}

void HAL_TIM_PeriodElapsedCallback(TIM_HandleTypeDef *htim)
{
  if (htim->Instance == TIM5) {
    HAL_IncTick();
  }
}

void Error_Handler(void)
{
}

/************************ (C) COPYRIGHT STMicroelectronics *****END OF FILE****/
